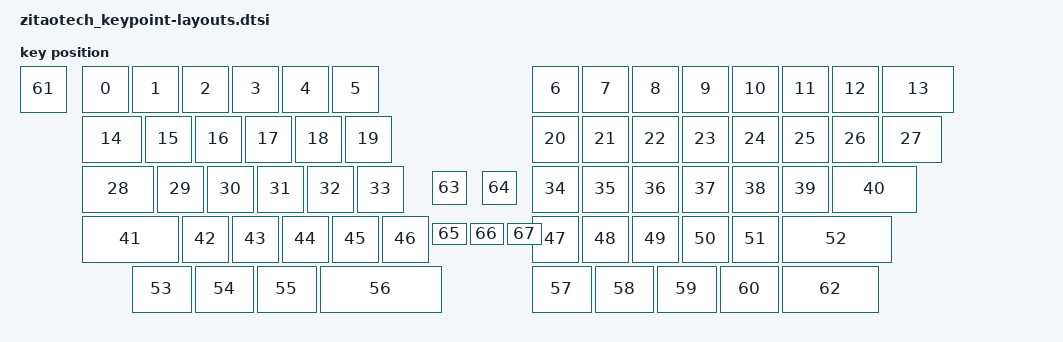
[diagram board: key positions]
#include <physical_layouts.dtsi>
#include <dt-bindings/zmk/matrix_transform.h>

/ {
    zitaotech_keypoint_layout: zitaotech_keypoint_layout {
        compatible = "zmk,physical-layout";
        display-name = "KEYPOINT Programmer 60";

        kscan = <&kscan0>;
        transform = <&default_transform>;

        /*
         * Logical order exactly matches default_transform:
         * 14 + 14 + 13 + 12 + 8 ANSI-style keys, followed by 7 KEYPOINT extras.
         *
         * Coordinates remain split rather than pretending this is a monoblock ANSI plate.
         */
        keys  //                     w   h    x    y     rot    rx    ry
            = <&key_physical_attrs 100 100    0    0       0     0     0>  /* Esc */
            , <&key_physical_attrs 100 100  100    0       0     0     0>  /* 1 */
            , <&key_physical_attrs 100 100  200    0       0     0     0>  /* 2 */
            , <&key_physical_attrs 100 100  300    0       0     0     0>  /* 3 */
            , <&key_physical_attrs 100 100  400    0       0     0     0>  /* 4 */
            , <&key_physical_attrs 100 100  500    0       0     0     0>  /* 5 */
            , <&key_physical_attrs 100 100  900    0       0     0     0>  /* 6 */
            , <&key_physical_attrs 100 100 1000    0       0     0     0>  /* 7 */
            , <&key_physical_attrs 100 100 1100    0       0     0     0>  /* 8 */
            , <&key_physical_attrs 100 100 1200    0       0     0     0>  /* 9 */
            , <&key_physical_attrs 100 100 1300    0       0     0     0>  /* 0 */
            , <&key_physical_attrs 100 100 1400    0       0     0     0>  /* - */
            , <&key_physical_attrs 100 100 1500    0       0     0     0>  /* = */
            , <&key_physical_attrs 150 100 1600    0       0     0     0>  /* Backspace */

            , <&key_physical_attrs 125 100    0  100       0     0     0>  /* Tab */
            , <&key_physical_attrs 100 100  125  100       0     0     0>  /* Q */
            , <&key_physical_attrs 100 100  225  100       0     0     0>  /* W */
            , <&key_physical_attrs 100 100  325  100       0     0     0>  /* E */
            , <&key_physical_attrs 100 100  425  100       0     0     0>  /* R */
            , <&key_physical_attrs 100 100  525  100       0     0     0>  /* T */
            , <&key_physical_attrs 100 100  900  100       0     0     0>  /* Y */
            , <&key_physical_attrs 100 100 1000  100       0     0     0>  /* U */
            , <&key_physical_attrs 100 100 1100  100       0     0     0>  /* I */
            , <&key_physical_attrs 100 100 1200  100       0     0     0>  /* O */
            , <&key_physical_attrs 100 100 1300  100       0     0     0>  /* P */
            , <&key_physical_attrs 100 100 1400  100       0     0     0>  /* [ */
            , <&key_physical_attrs 100 100 1500  100       0     0     0>  /* ] */
            , <&key_physical_attrs 125 100 1600  100       0     0     0>  /* \ */

            , <&key_physical_attrs 150 100    0  200       0     0     0>  /* Caps */
            , <&key_physical_attrs 100 100  150  200       0     0     0>  /* A */
            , <&key_physical_attrs 100 100  250  200       0     0     0>  /* S */
            , <&key_physical_attrs 100 100  350  200       0     0     0>  /* D */
            , <&key_physical_attrs 100 100  450  200       0     0     0>  /* F */
            , <&key_physical_attrs 100 100  550  200       0     0     0>  /* G */
            , <&key_physical_attrs 100 100  900  200       0     0     0>  /* H */
            , <&key_physical_attrs 100 100 1000  200       0     0     0>  /* J */
            , <&key_physical_attrs 100 100 1100  200       0     0     0>  /* K */
            , <&key_physical_attrs 100 100 1200  200       0     0     0>  /* L */
            , <&key_physical_attrs 100 100 1300  200       0     0     0>  /* ; */
            , <&key_physical_attrs 100 100 1400  200       0     0     0>  /* ' */
            , <&key_physical_attrs 175 100 1500  200       0     0     0>  /* Enter */

            , <&key_physical_attrs 200 100    0  300       0     0     0>  /* LShift */
            , <&key_physical_attrs 100 100  200  300       0     0     0>  /* Z */
            , <&key_physical_attrs 100 100  300  300       0     0     0>  /* X */
            , <&key_physical_attrs 100 100  400  300       0     0     0>  /* C */
            , <&key_physical_attrs 100 100  500  300       0     0     0>  /* V */
            , <&key_physical_attrs 100 100  600  300       0     0     0>  /* B */
            , <&key_physical_attrs 100 100  900  300       0     0     0>  /* N */
            , <&key_physical_attrs 100 100 1000  300       0     0     0>  /* M */
            , <&key_physical_attrs 100 100 1100  300       0     0     0>  /* , */
            , <&key_physical_attrs 100 100 1200  300       0     0     0>  /* . */
            , <&key_physical_attrs 100 100 1300  300       0     0     0>  /* / */
            , <&key_physical_attrs 225 100 1400  300       0     0     0>  /* RShift */

            , <&key_physical_attrs 125 100  100  400       0     0     0>  /* LCtrl */
            , <&key_physical_attrs 125 100  225  400       0     0     0>  /* LGUI */
            , <&key_physical_attrs 125 100  350  400       0     0     0>  /* LAlt */
            , <&key_physical_attrs 250 100  475  400       0     0     0>  /* Space */
            , <&key_physical_attrs 125 100  900  400       0     0     0>  /* RAlt */
            , <&key_physical_attrs 125 100 1025  400       0     0     0>  /* Fn */
            , <&key_physical_attrs 125 100 1150  400       0     0     0>  /* RGUI */
            , <&key_physical_attrs 125 100 1275  400       0     0     0>  /* RCtrl */

            , <&key_physical_attrs 100 100 -125    0       0     0     0>  /* dedicated `/~ */
            , <&key_physical_attrs 200 100 1400  400       0     0     0>  /* second Space */
            , <&key_physical_attrs  75  75  700  210       0     0     0>  /* LClick */
            , <&key_physical_attrs  75  75  800  210       0     0     0>  /* RClick */
            , <&key_physical_attrs  75  50  700  315       0     0     0>  /* scroll modifier */
            , <&key_physical_attrs  75  50  775  315       0     0     0>  /* arrow modifier */
            , <&key_physical_attrs  75  50  850  315       0     0     0>  /* slow pointer */
            ;
    };
};
